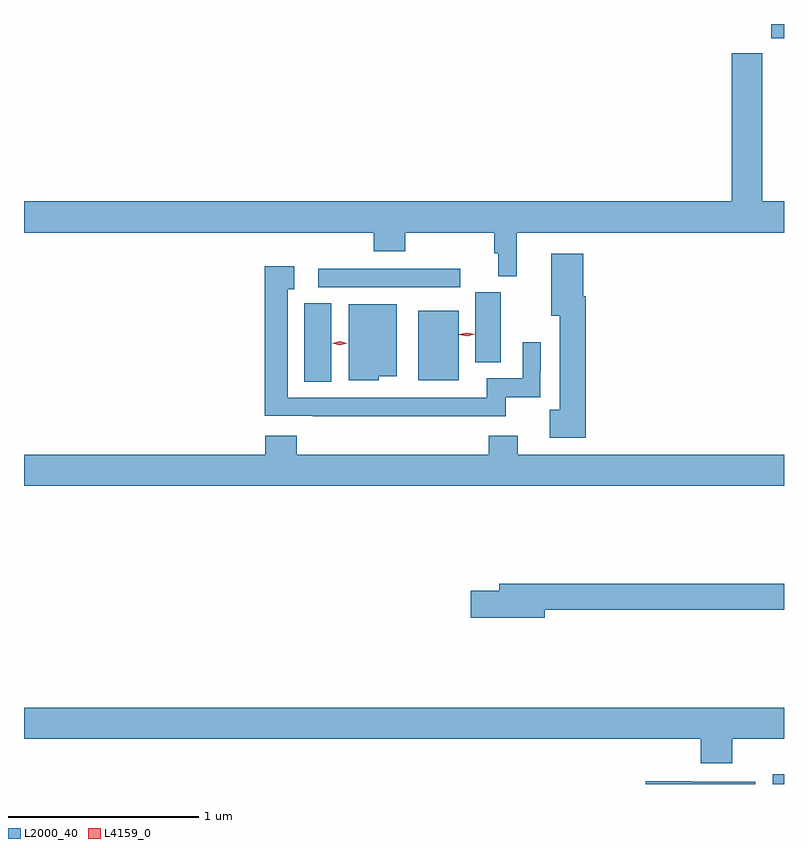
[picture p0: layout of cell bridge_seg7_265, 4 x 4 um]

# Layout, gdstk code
import gdstk
lib = gdstk.Library(unit=1e-6, precision=1e-09)
def R(c, l, rs):  # rectangles x0, y0, x1, y1
    for r in rs: c.add(gdstk.rectangle(r[:2], r[2:], *l))
def P(c, l, *ps):  # polygons
    for p in ps: c.add(gdstk.Polygon(p, *l))
L2000_40 = (2000, 40)
L4159_0 = (4159, 0)

bridge_seg7_265 = lib.new_cell('bridge_seg7_265')
R(bridge_seg7_265, L2000_40, [(235.08,1031.014,235.138,1031.066), (232.613,1033.132,232.756,1033.544), (233.213,1033.139,233.425,1033.504), (233.513,1033.235,233.647,1033.602), (232.686,1033.629,233.434,1033.725), (235.07,1034.939,235.138,1035.014)])
P(bridge_seg7_265, L2000_40, [(233.732,1033.916),(235.138,1033.916),(235.138,1034.08),(235.023,1034.08),(235.023,1034.86),(234.863,1034.86),(234.863,1034.08),(231.138,1034.08),(231.138,1033.916),(232.979,1033.916),(232.979,1033.817),(233.144,1033.817),(233.144,1033.916),(233.614,1033.916),(233.614,1033.808),(233.633,1033.808),(233.633,1033.687),(233.732,1033.687)],
  [(234.095,1033.582),(234.082,1033.582),(234.082,1033.804),(233.912,1033.804),(233.912,1033.478),(233.957,1033.478),(233.957,1032.984),(233.904,1032.984),(233.904,1032.836),(234.095,1032.836)],
  [(233.673,1033.05),(233.856,1033.05),(233.856,1033.188),(233.859,1033.188),(233.859,1033.339),(233.763,1033.339),(233.763,1033.15),(233.573,1033.15),(233.573,1033.047),(232.525,1033.047),(232.525,1033.617),(232.561,1033.617),(232.561,1033.738),(232.404,1033.738),(232.404,1032.951),(232.657,1032.951),(232.657,1032.95),(233.673,1032.95)],
  [(233.004,1033.16),(233.101,1033.16),(233.101,1033.54),(232.847,1033.54),(232.847,1033.139),(233.004,1033.139)],
  [(232.409,1032.847),(232.409,1032.748),(231.138,1032.748),(231.138,1032.584),(235.138,1032.584),(235.138,1032.748),(233.737,1032.748),(233.737,1032.847),(233.585,1032.847),(233.585,1032.748),(232.574,1032.748),(232.574,1032.847)],
  [(233.878,1031.932),(235.138,1031.932),(235.138,1032.068),(233.639,1032.068),(233.639,1032.032),(233.49,1032.032),(233.49,1031.89),(233.878,1031.89)],
  [(234.866,1031.252),(235.138,1031.252),(235.138,1031.416),(231.138,1031.416),(231.138,1031.252),(234.701,1031.252),(234.701,1031.124),(234.866,1031.124)],
  [(234.987,1031.025),(234.655,1031.025),(234.655,1031.029),(234.411,1031.029),(234.411,1031.014),(234.987,1031.014)])
P(bridge_seg7_265, L4159_0, [(233.47,1033.37),(233.429,1033.379),(233.429,1033.379),(233.429,1033.38),(233.47,1033.39),(233.511,1033.381),(233.511,1033.381),(233.511,1033.381)],
  [(232.8,1033.324),(232.76,1033.334),(232.76,1033.334),(232.76,1033.335),(232.8,1033.344),(232.84,1033.335),(232.84,1033.334),(232.84,1033.334)])

lib.write_gds('bridge_seg7_265.gds')
